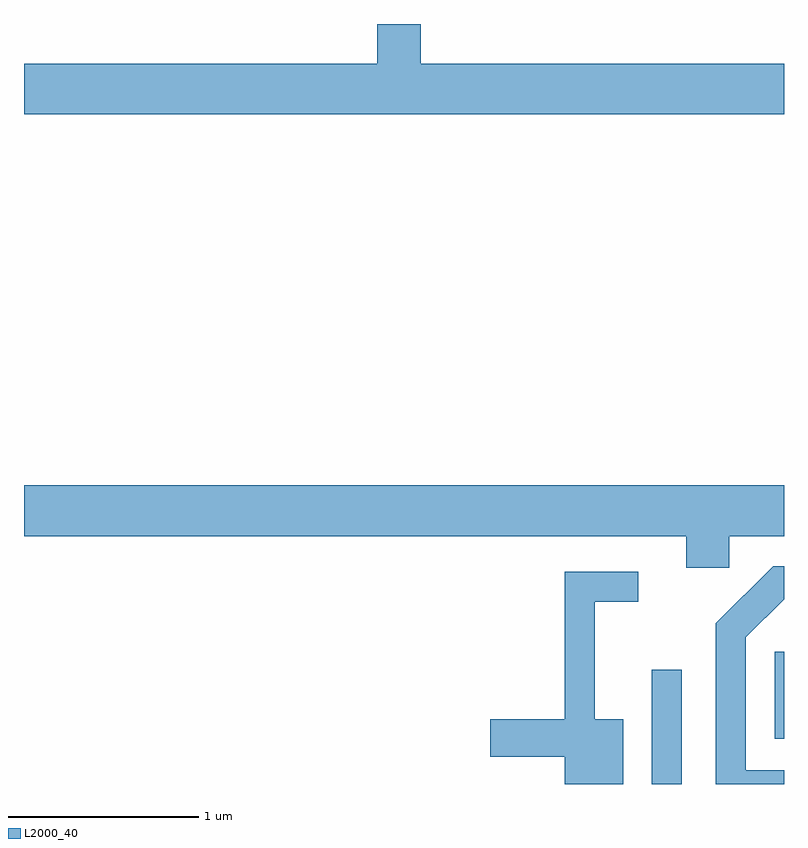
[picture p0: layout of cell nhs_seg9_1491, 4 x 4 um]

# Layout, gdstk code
import gdstk
lib = gdstk.Library(unit=1e-6, precision=1e-09)
def R(c, l, rs):  # rectangles x0, y0, x1, y1
    for r in rs: c.add(gdstk.rectangle(r[:2], r[2:], *l))
def P(c, l, *ps):  # polygons
    for p in ps: c.add(gdstk.Polygon(p, *l))
L2000_40 = (2000, 40)

nhs_seg9_1491 = lib.new_cell('nhs_seg9_1491')
R(nhs_seg9_1491, L2000_40, [(230.916,2070.432,231.074,2071.033), (231.561,2070.671,231.611,2071.129)])
P(nhs_seg9_1491, L2000_40, [(231.611,2074.224),(229.699,2074.224),(229.699,2074.432),(229.471,2074.432),(229.471,2074.224),(227.611,2074.224),(227.611,2073.956),(231.611,2073.956)],
  [(231.324,2071.736),(231.611,2071.736),(231.611,2072.004),(227.611,2072.004),(227.611,2071.736),(231.096,2071.736),(231.096,2071.571),(231.324,2071.571)],
  [(231.611,2070.504),(231.409,2070.504),(231.409,2071.204),(231.611,2071.405),(231.611,2071.579),(231.554,2071.579),(231.251,2071.277),(231.251,2070.432),(231.611,2070.432)],
  [(230.764,2070.774),(230.614,2070.774),(230.614,2071.391),(230.843,2071.391),(230.843,2071.549),(230.456,2071.549),(230.456,2070.774),(230.066,2070.774),(230.066,2070.576),(230.456,2070.576),(230.456,2070.432),(230.764,2070.432)])

lib.write_gds('nhs_seg9_1491.gds')
